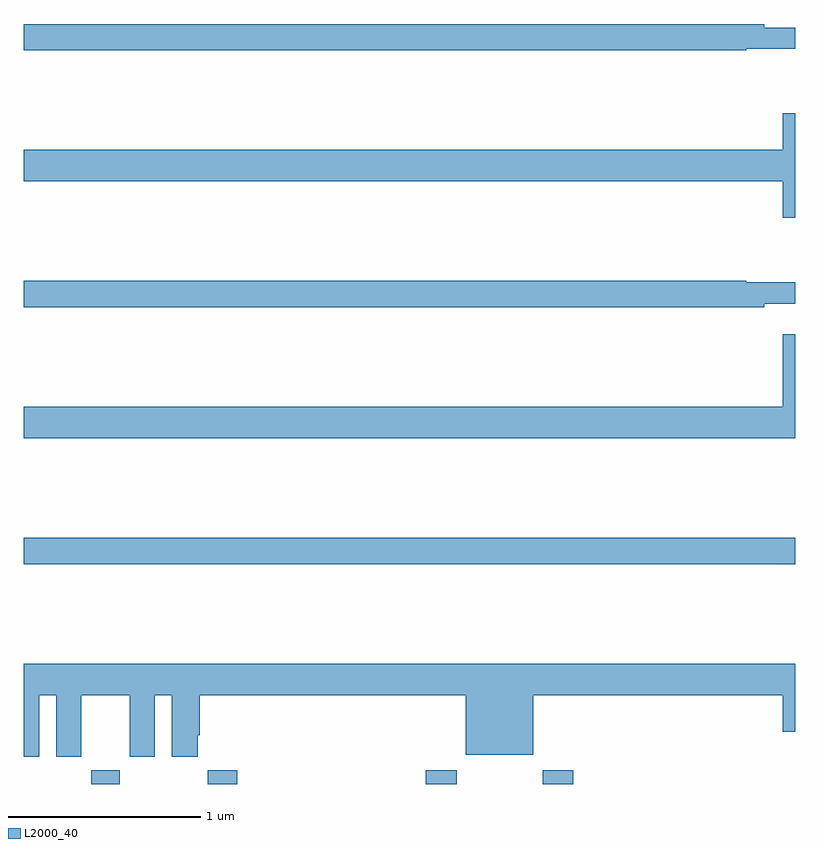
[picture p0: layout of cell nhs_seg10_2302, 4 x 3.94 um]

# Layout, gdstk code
import gdstk
lib = gdstk.Library(unit=1e-6, precision=1e-09)
def R(c, l, rs):  # rectangles x0, y0, x1, y1
    for r in rs: c.add(gdstk.rectangle(r[:2], r[2:], *l))
def P(c, l, *ps):  # polygons
    for p in ps: c.add(gdstk.Polygon(p, *l))
L2000_40 = (2000, 40)

nhs_seg10_2302 = lib.new_cell('nhs_seg10_2302')
R(nhs_seg10_2302, L2000_40, [(233.349,1322.5,233.499,1322.572), (233.953,1322.5,234.107,1322.572), (235.085,1322.5,235.245,1322.572), (235.69,1322.5,235.85,1322.572), (233,1323.64,237,1323.776)])
P(nhs_seg10_2302, L2000_40, [(236.745,1326.312),(237,1326.312),(237,1326.421),(236.84,1326.421),(236.84,1326.44),(233,1326.44),(233,1326.304),(236.745,1326.304)],
  [(237,1325.977),(236.936,1325.977),(236.936,1325.788),(233,1325.788),(233,1325.624),(236.936,1325.624),(236.936,1325.436),(237,1325.436)],
  [(236.84,1324.991),(237,1324.991),(237,1325.101),(236.745,1325.101),(236.745,1325.108),(233,1325.108),(233,1324.972),(236.84,1324.972)],
  [(237,1324.831),(236.936,1324.831),(236.936,1324.456),(233,1324.456),(233,1324.292),(237,1324.292)],
  [(233.08,1322.96),(233.168,1322.96),(233.168,1322.64),(233.298,1322.64),(233.298,1322.752),(233.299,1322.752),(233.299,1322.96),(233.549,1322.96),(233.549,1322.752),(233.55,1322.752),(233.55,1322.64),(233.68,1322.64),(233.68,1322.96),(233.768,1322.96),(233.768,1322.64),(233.902,1322.64),(233.902,1322.752),(233.912,1322.752),(233.912,1322.96),(235.292,1322.96),(235.292,1322.651),(235.642,1322.651),(235.642,1322.96),(236.936,1322.96),(236.936,1322.772),(237,1322.772),(237,1323.124),(233,1323.124),(233,1322.64),(233.08,1322.64)])

lib.write_gds('nhs_seg10_2302.gds')
